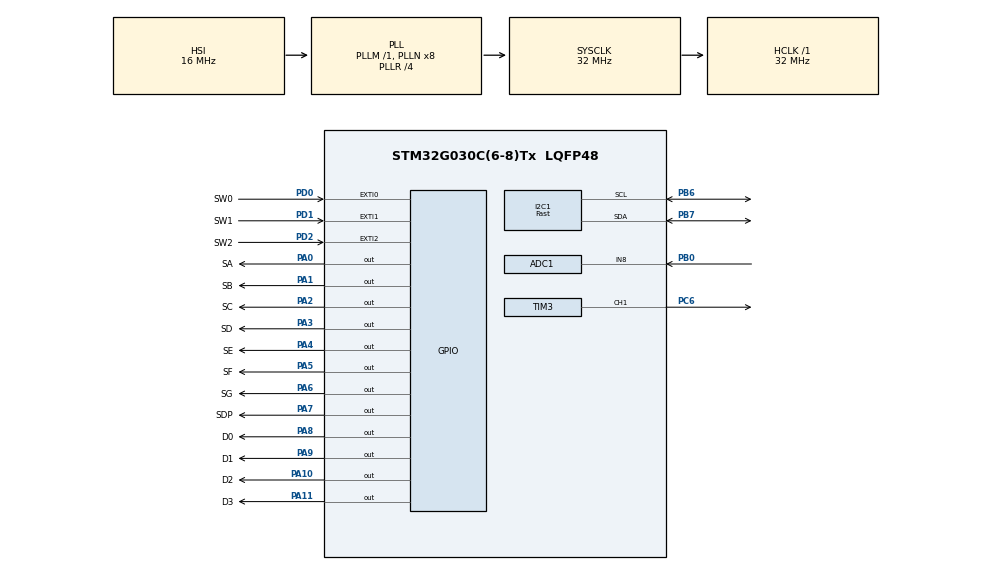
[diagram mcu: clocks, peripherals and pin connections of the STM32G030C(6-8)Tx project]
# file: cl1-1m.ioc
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ADC1.Channel-0\#ChannelRegularConversion=ADC_CHANNEL_8
ADC1.NbrOfConversionFlag=1
ADC1.Rank-0\#ChannelRegularConversion=1
ADC1.SamplingTime-0\#ChannelRegularConversion=ADC_SAMPLINGTIME_COMMON_1
ADC1.SelectedChannel=ADC_CHANNEL_8
ADC1.master=1
I2C1.I2C_Speed_Mode=I2C_Fast
I2C1.Timing=0x00300F38
Mcu.Family=STM32G0
Mcu.Name=STM32G030C(6-8)Tx
Mcu.Package=LQFP48
NVIC.EXTI0_1_IRQn=true\:3\:0\:true\:false\:true\:true\:true\:true
NVIC.EXTI2_3_IRQn=true\:3\:0\:true\:false\:true\:true\:true\:true
NVIC.TIM14_IRQn=true\:2\:0\:true\:false\:true\:true\:true\:true
PA0.GPIO_Label=SA
PA0.GPIO_PuPd=GPIO_PULLDOWN
PA0.GPIO_Speed=GPIO_SPEED_FREQ_VERY_HIGH
PA0.Signal=GPIO_Output
PA1.GPIO_Label=SB
PA1.GPIO_PuPd=GPIO_PULLDOWN
PA1.GPIO_Speed=GPIO_SPEED_FREQ_VERY_HIGH
PA1.Signal=GPIO_Output
PA10.GPIO_Label=D2
PA10.Signal=GPIO_Output
PA11\ [PA9].GPIO_Label=D3
PA11\ [PA9].Signal=GPIO_Output
PA2.GPIO_Label=SC
PA2.Signal=GPIO_Output
PA3.GPIO_Label=SD
PA3.Signal=GPIO_Output
PA4.GPIO_Label=SE
PA4.Signal=GPIO_Output
PA5.GPIO_Label=SF
PA5.Signal=GPIO_Output
PA6.GPIO_Label=SG
PA6.Signal=GPIO_Output
PA7.GPIO_Label=SDP
PA7.Signal=GPIO_Output
PA8.GPIO_Label=D0
PA8.GPIO_PuPd=GPIO_PULLDOWN
PA8.GPIO_Speed=GPIO_SPEED_FREQ_VERY_HIGH
PA8.Signal=GPIO_Output
PA9.GPIO_FMPA9=SYSCFG_FASTMODEPLUS_PA9
PA9.GPIO_Label=D1
PA9.GPIO_PuPd=GPIO_PULLDOWN
PA9.GPIO_Speed=GPIO_SPEED_FREQ_VERY_HIGH
PA9.Signal=GPIO_Output
PB0.Mode=IN8
PB0.Signal=ADC1_IN8
PB6.Mode=I2C
PB6.Signal=I2C1_SCL
PB7.Mode=I2C
PB7.Signal=I2C1_SDA
PC6.Signal=S_TIM3_CH1
PD0.GPIO_Label=SW0
PD0.GPIO_ModeDefaultEXTI=GPIO_MODE_IT_RISING_FALLING
PD0.Signal=GPXTI0
PD1.GPIO_Label=SW1
PD1.GPIO_ModeDefaultEXTI=GPIO_MODE_IT_RISING_FALLING
PD1.Signal=GPXTI1
PD2.GPIO_Label=SW2
PD2.GPIO_ModeDefaultEXTI=GPIO_MODE_IT_RISING_FALLING
PD2.Signal=GPXTI2
ProjectManager.HeapSize=0x200
ProjectManager.StackSize=0x400
ProjectManager.TargetToolchain=STM32CubeIDE
RCC.ADCFreq_Value=32000000
RCC.AHBFreq_Value=32000000
RCC.CortexFreq_Value=32000000
RCC.EXTERNAL_CLOCK_VALUE=12288000
RCC.HCLKFreq_Value=32000000
RCC.HSE_VALUE=8000000
RCC.HSI_VALUE=16000000
RCC.LSE_VALUE=32768
RCC.PLLR=RCC_PLLR_DIV4
RCC.SYSCLKFreq_VALUE=32000000
RCC.SYSCLKSource=RCC_SYSCLKSOURCE_PLLCLK
RCC.VCOOutputFreq_Value=128000000
SH.S_TIM3_CH1.0=TIM3_CH1,PWM Generation1 CH1
TIM14.AutoReloadPreload=TIM_AUTORELOAD_PRELOAD_DISABLE
TIM14.Period=9
TIM14.Prescaler=31
TIM3.Channel-PWM\ Generation1\ CH1=TIM_CHANNEL_1
TIM3.Period=427
TIM3.Prescaler=1
VP_RTC_VS_RTC_Activate.Mode=RTC_Enabled
VP_TIM14_VS_ClockSourceINT.Mode=Enable_Timer
board=custom

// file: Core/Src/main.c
/* USER CODE BEGIN Header */
/**
 ******************************************************************************
 * @file           : main.c
 * @brief          : Main program body
 ******************************************************************************
 * @attention
 *
 * Copyright (c) 2023 STMicroelectronics.
 * All rights reserved.
 *
 * This software is licensed under terms that can be found in the LICENSE file
 * in the root directory of this software component.
 * If no LICENSE file 		comes with this software, it is provided AS-IS.
 *
 *
 *
 ******************************************************************************
 */
/* USER CODE END Header */
#include "main.h"

/* USER CODE BEGIN Includes */
#include <string.h>
#include <math.h>
#include <stdio.h>
/* USER CODE END Includes */

/* USER CODE BEGIN PD */
#define RTC_ADDRESS 0xD0
/* USER CODE END PD */

ADC_HandleTypeDef hadc1;

I2C_HandleTypeDef hi2c1;

RTC_HandleTypeDef hrtc;

TIM_HandleTypeDef htim3;
TIM_HandleTypeDef htim14;

/* USER CODE BEGIN PV */

static GPIO_TypeDef *const DIG_Port[] = { D0_GPIO_Port, D1_GPIO_Port,
D2_GPIO_Port, D3_GPIO_Port };

static const uint16_t DIG_Pin[] = { D0_Pin, D1_Pin, D2_Pin, D3_Pin };

static const uint16_t gpio_pins[] = { 4, 0, 1, 4, 2 };

RTC_TimeTypeDef time;
RTC_DateTypeDef date;

volatile uint8_t isPressed = 3; // Zmienna do zapamiętania który przycisk zosta??��?��? wciśnięty, jeżeli jest równa 3 to nic nie było wciśnięte
volatile uint32_t actTick = 0; // Zmienna do zapamiętania czasu wciśnięcia przycisku
volatile int dispValue = 0; // Wyświetlana liczba
volatile int curDig = 0; // Wyświetlana Cyfra
volatile uint8_t selDig = 0; // Wybrana Cyfra
uint8_t clickType = 0; // od 1 do 3 to krótkie przyciśnięcia, od 4 do 6 długie przyciśnięcia
uint8_t setupMode = 0; // Jeżeli jest większe od zera to zegarek jest w trybie programowania
uint8_t setupDig = 0;
uint8_t newDig = 0;
uint16_t pwm = 50;
uint16_t brightness = 0;
uint16_t onBright = 50;
uint16_t offBright = 5;
uint16_t onTime = 0000;
uint16_t offTime = 0000;

// Ustawianie segmentów
const uint8_t digits[15] = { 0b00111111, // 0
		0b00000110, // 1
		0b01011011, // 2
		0b01001111, // 3
		0b01100110, // 4
		0b01101101, // 5
		0b01111101, // 6
		0b00000111, // 7
		0b01111111, // 8
		0b01101111, // 9
		0b00000000, // Blank
		0b01111001, 0b01010000, 0b01010000, 0b00000000 };
static GPIO_TypeDef *const SEG_Port[] = { SA_GPIO_Port, SB_GPIO_Port,
SC_GPIO_Port, SD_GPIO_Port, SE_GPIO_Port, SF_GPIO_Port, SG_GPIO_Port,
SDP_GPIO_Port };

static const uint16_t SEG_Pin[] = { SA_Pin, SB_Pin, SC_Pin, SD_Pin, SE_Pin,
SF_Pin, SG_Pin, SDP_Pin };
/* USER CODE END PV */

void SystemClock_Config(void);
static void MX_GPIO_Init(void);
static void MX_ADC1_Init(void);
static void MX_TIM3_Init(void);
static void MX_TIM14_Init(void);
static void MX_RTC_Init(void);
static void MX_I2C1_Init(void);

/* USER CODE BEGIN 0 */

uint8_t decToBcd(int val) {
	return (uint8_t) ((val / 10 * 16) + (val % 10));
}

int bcdToDec(uint8_t val) {
	return (int) ((val / 16 * 10) + (val % 16));
}

void Set_Time(uint8_t sec, uint8_t min, uint8_t hour) {
	uint8_t set_time[7];
	set_time[0] = decToBcd(sec);
	set_time[1] = decToBcd(min);
	set_time[2] = decToBcd(hour);

	HAL_I2C_Mem_Write(&hi2c1, RTC_ADDRESS, 0x00, 1, set_time, 7, 1000);
}

void Get_Time(void) {
	uint8_t get_time[7];
	HAL_I2C_Mem_Read(&hi2c1, RTC_ADDRESS, 0x00, 1, get_time, 7, 1000);
	time.Seconds = bcdToDec(get_time[0]);
	time.Minutes = bcdToDec(get_time[1]);
	time.Hours = bcdToDec(get_time[2]);
}

void setDigit(int digit) {
	for (int i = 0; i < 8; i++) {
		HAL_GPIO_WritePin(SEG_Port[i], SEG_Pin[i],
				((((digits[digit] >> i) & 1) == 1) ?
						GPIO_PIN_SET : GPIO_PIN_RESET));

	}
}

void customTick() {
	if (isPressed != 3)
		actTick++;
}

// Obsługa przerwa??��?��? wywoływanych przez przyciski
void swToggle(uint16_t GPIO_Pin) {
	if ((HAL_GPIO_ReadPin(GPIOD, GPIO_Pin) == GPIO_PIN_RESET)
			&& (isPressed == 3)) {
		actTick = 0;
		isPressed = GPIO_Pin;
	} else if ((HAL_GPIO_ReadPin(GPIOD, GPIO_Pin) == GPIO_PIN_SET)
			&& (isPressed == GPIO_Pin)) {
		if (actTick > 50 && actTick < 700) {
			clickType = gpio_pins[GPIO_Pin] + 1;
		} else if (actTick > 50) {
			clickType = gpio_pins[GPIO_Pin] + 4;
		}
		actTick = 0;
		isPressed = 3;
	} else {
		__NOP();
	}
}
void HAL_GPIO_EXTI_Falling_Callback(uint16_t GPIO_Pin) {
	swToggle(GPIO_Pin);
}
void HAL_GPIO_EXTI_Rising_Callback(uint16_t GPIO_Pin) {
	swToggle(GPIO_Pin);
}
volatile long delayForBlink = 0;
volatile long delay = 0;
// Przerwanie do odświeżania zegarka

void TIM14_Callback() {
	if (delay == 0) {
		HAL_GPIO_WritePin(DIG_Port[(curDig + 3) % 4], DIG_Pin[(curDig + 3) % 4],
				GPIO_PIN_RESET);
		setDigit(10);
	} else if (delay == 5) {
		HAL_GPIO_WritePin(DIG_Port[(curDig + 3) % 4], DIG_Pin[(curDig + 3) % 4],
				GPIO_PIN_RESET);
		if (HAL_I2C_IsDeviceReady(&hi2c1, RTC_ADDRESS, 3, 5) != HAL_OK) {
			setDigit(14 - curDig);
		} else if (setupDig == curDig
				&& (setupMode == 1 || setupMode == 3 || setupMode == 4)) {
			setDigit(
					(delayForBlink < 50000) ?
							((int) (dispValue / pow(10.0, curDig)) % 10) : 10);
		} else if (setupDig == 0 && (curDig == 0 || curDig == 1)
				&& setupMode == 2) {
			setDigit(
					(delayForBlink < 50000) ?
							((int) (dispValue / pow(10.0, curDig)) % 10) : 10);
		} else if (setupDig == 1 && (curDig == 2 || curDig == 3)
				&& setupMode == 2) {
			setDigit(
					(delayForBlink < 50000) ?
							((int) (dispValue / pow(10.0, curDig)) % 10) : 10);
		} else {
			setDigit((int) (dispValue / pow(10.0, curDig)) % 10);
		}
		HAL_GPIO_WritePin(SEG_Port[7], SEG_Pin[7],
				((setupMode - 1) == curDig) ? GPIO_PIN_SET : GPIO_PIN_RESET);
	} else if (setupMode == 2) {
		if (curDig == 0 || curDig == 1) {
			if (delay == 61 - (onBright)/2) {
				HAL_GPIO_WritePin(DIG_Port[curDig], DIG_Pin[curDig],
						GPIO_PIN_SET);
			}
		} else {
			if (delay == 61 - (offBright/2)) {
				HAL_GPIO_WritePin(DIG_Port[curDig], DIG_Pin[curDig],
						GPIO_PIN_SET);
			}

		}
	} else if (delay >= (61 - (brightness/2))) {
		HAL_GPIO_WritePin(DIG_Port[curDig], DIG_Pin[curDig], GPIO_PIN_SET);

	}

	if (delay == 60) {
		delay = 0;
		curDig = (curDig + 1) % 4;
	} else {
		delay++;
	}
	if (delayForBlink == 100000) {
		Get_Time();
		delayForBlink = 0;
	} else {
		delayForBlink++;
	}
}

/* USER CODE END 0 */

int main(void)
{

  /* MCU Configuration--------------------------------------------------------*/

  /* Reset of all peripherals, Initializes the Flash interface and the Systick. */
  HAL_Init();

  /* Configure the system clock */
  SystemClock_Config();

  /* Initialize all configured peripherals */
  MX_GPIO_Init();
  MX_ADC1_Init();
  MX_TIM3_Init();
  MX_TIM14_Init();
  MX_RTC_Init();
  MX_I2C1_Init();
  /* USER CODE BEGIN 2 */
	HAL_ADCEx_Calibration_Start(&hadc1);
	HAL_TIM_Base_Start_IT(&htim14);
	HAL_TIM_Base_Start_IT(&htim3);
	HAL_TIM_PWM_Start(&htim3, TIM_CHANNEL_1);

	onTime = HAL_RTCEx_BKUPRead(&hrtc, RTC_BKP_DR0);
	offTime = HAL_RTCEx_BKUPRead(&hrtc, RTC_BKP_DR1);
	onBright =
			(HAL_RTCEx_BKUPRead(&hrtc, RTC_BKP_DR2) != 0) ?
					HAL_RTCEx_BKUPRead(&hrtc, RTC_BKP_DR2) : 50;
	offBright = HAL_RTCEx_BKUPRead(&hrtc, RTC_BKP_DR3);

  /* USER CODE END 2 */

  /* Infinite loop */
	while (1) {

    /* USER CODE BEGIN 3 */

// Obsługa przetwornicy
		HAL_ADC_Start(&hadc1);
		HAL_ADC_PollForConversion(&hadc1, HAL_MAX_DELAY);
		uint32_t value = HAL_ADC_GetValue(&hadc1);
		float voltage = (((3.3 * value)) / 4096) * 33.6;
		if (35 < voltage) {
			if (pwm > 0)
				pwm--;
		} else {
			if (pwm < 198)
				pwm++;
		}
		__HAL_TIM_SET_COMPARE(&htim3, TIM_CHANNEL_1, pwm);
		if (setupMode == 0) { // Dla setupMode równego 0 zegarek pracuje normalnie
			if (dispValue % 100 != time.Minutes) {
				dispValue = (time.Hours * 100) + time.Minutes;
			}
			if (onTime < offTime) {
				if (dispValue >= onTime && dispValue < offTime) {
					brightness = onBright;
				} else {
					brightness = offBright;
				}

			} else if (onTime > offTime) {
				if (dispValue < onTime && dispValue >= offTime) {
					brightness = offBright;
				} else {
					brightness = onBright;
				}
			} else {
				brightness = onBright;
			}
			if (clickType == 5) {
				clickType = 0;
				setupDig = 0;
				setupMode++;
			}
		} else if (setupMode != 5) {
			brightness = 50;
			if (clickType == 5) {
				clickType = 0;
				setupMode = 0;
			} else if (clickType == 4) {
				clickType = 0;
				setupDig = 0;
				setupMode = (setupMode == 1) ? 4 : setupMode - 1;
			} else if (clickType == 6) {
				clickType = 0;
				setupDig = 0;
				setupMode = (setupMode >= 4) ? 1 : setupMode + 1;
			}
			switch (setupMode) {
			case 1:
				dispValue = (time.Hours * 100) + time.Minutes;
				newDig = ((int) (dispValue / pow(10.0, setupDig)) % 10);
				if (clickType == 2) {
					delayForBlink = 25000;
					clickType = 0;
					setupDig = (setupDig + 1) % 4;
					newDig = ((int) (dispValue / pow(10.0, setupDig)) % 10);
				} else if (clickType == 1) {
					clickType = 0;
					if (setupDig == 0) {
						newDig = (newDig + 1) % 10;
					} else if (setupDig == 1) {
						newDig = (newDig + 1) % 6;
					} else if (setupDig == 2) {
						if (((dispValue / 1000) % 10) == 2) {
							newDig = (newDig + 1) % 5;
						} else {
							newDig = (newDig + 1) % 10;
						}
					} else if (setupDig == 3) {
						if (((dispValue / 100) % 10) > 4) {
							newDig = (newDig + 1) % 2;
						} else {
							newDig = (newDig + 1) % 3;
						}
					}
				} else if (clickType == 3) {
					clickType = 0;
					if (setupDig == 0) {
						newDig = (newDig + 9) % 10;
					} else if (setupDig == 1) {
						newDig = (newDig + 5) % 6;
					} else if (setupDig == 2) {
						if (((dispValue / 1000) % 10) == 2) {
							newDig = (newDig + 4) % 5;
						} else {
							newDig = (newDig + 9) % 10;
						}
					} else if (setupDig == 3) {
						if (((dispValue / 100) % 10) > 4) {
							newDig = (newDig + 1) % 2;
						} else {
							newDig = (newDig + 2) % 3;
						}
					}
				}
				if (newDig != ((int) (dispValue / pow(10.0, setupDig)) % 10)) {
					delayForBlink = 0;
					dispValue = (dispValue
							- (((int) (dispValue / pow(10.0, setupDig)) % 10))
									* pow(10.0, setupDig))
							+ (newDig * pow(10.0, setupDig));
					time.Hours = dispValue / 100;
					time.Minutes = dispValue % 100;
					time.Seconds = 0;
				Set_Time(time.Seconds,time.Minutes,time.Hours);
				}

				break;
			case 2:
				dispValue = ((onBright == 100) ? 99 : onBright)
						+ (((offBright == 100) ? 99 : offBright) * 100);
				if (clickType == 2) {
					delayForBlink = 25000;
					clickType = 0;
					setupDig = (setupDig + 1) % 2;

				} else if (clickType == 1) {
					delayForBlink = 0;
					clickType = 0;
					if (setupDig == 0) {
						onBright = (((onBright / 5) + 1) % 21) * 5;
						HAL_RTCEx_BKUPWrite(&hrtc, RTC_BKP_DR2, onBright);
					} else {
						offBright = (((offBright / 5) + 1) % 21) * 5;
						HAL_RTCEx_BKUPWrite(&hrtc, RTC_BKP_DR3, offBright);
					}

				} else if (clickType == 3) {
					delayForBlink = 0;
					clickType = 0;
					if (setupDig == 0) {
						onBright = (((onBright / 5) + 20) % 21) * 5;
						HAL_RTCEx_BKUPWrite(&hrtc, RTC_BKP_DR2, onBright);
					} else {
						HAL_RTCEx_BKUPWrite(&hrtc, RTC_BKP_DR3, offBright);
						offBright = (((offBright / 5) + 20) % 21) * 5;
					}
				}
				break;
			case 3:
				dispValue = onTime;
				newDig = ((int) (onTime / pow(10.0, setupDig)) % 10);
				if (clickType == 2) {
					delayForBlink = 25000;
					clickType = 0;
					setupDig = (setupDig + 1) % 4;
					newDig = ((int) (onTime / pow(10.0, setupDig)) % 10);
				} else if (clickType == 1) {
					clickType = 0;
					if (setupDig == 0) {
						newDig = (newDig + 1) % 10;
					} else if (setupDig == 1) {
						newDig = (newDig + 1) % 6;
					} else if (setupDig == 2) {
						if (((onTime / 1000) % 10) == 2) {
							newDig = (newDig + 1) % 5;
						} else {
							newDig = (newDig + 1) % 10;
						}
					} else if (setupDig == 3) {
						if (((onTime / 100) % 10) > 4) {
							newDig = (newDig + 1) % 2;
						} else {
							newDig = (newDig + 1) % 3;
						}
					}
				} else if (clickType == 3) {
					clickType = 0;
					if (setupDig == 0) {
						newDig = (newDig + 9) % 10;
					} else if (setupDig == 1) {
						newDig = (newDig + 5) % 6;
					} else if (setupDig == 2) {
						if (((onTime / 1000) % 10) == 2) {
							newDig = (newDig + 4) % 5;
						} else {
							newDig = (newDig + 9) % 10;
						}
					} else if (setupDig == 3) {
						if (((onTime / 100) % 10) > 4) {
							newDig = (newDig + 1) % 2;
						} else {
							newDig = (newDig + 2) % 3;
						}
					}
				}
				if (newDig != ((int) (onTime / pow(10.0, setupDig)) % 10)) {
					delayForBlink = 0;
					onTime = (onTime
							- (((int) (onTime / pow(10.0, setupDig)) % 10))
									* pow(10.0, setupDig))
							+ (newDig * pow(10.0, setupDig));
					HAL_RTCEx_BKUPWrite(&hrtc, RTC_BKP_DR0, onTime);
				}

				break;
			case 4:
				dispValue = offTime;
				newDig = ((int) (offTime / pow(10.0, setupDig)) % 10);
				if (clickType == 2) {
					delayForBlink = 25000;
					clickType = 0;
					setupDig = (setupDig + 1) % 4;
					newDig = ((int) (offTime / pow(10.0, setupDig)) % 10);
				} else if (clickType == 1) {
					clickType = 0;
					if (setupDig == 0) {
						newDig = (newDig + 1) % 10;
					} else if (setupDig == 1) {
						newDig = (newDig + 1) % 6;
					} else if (setupDig == 2) {
						if (((offTime / 1000) % 10) == 2) {
							newDig = (newDig + 1) % 5;
						} else {
							newDig = (newDig + 1) % 10;
						}
					} else if (setupDig == 3) {
						if (((offTime / 100) % 10) > 4) {
							newDig = (newDig + 1) % 2;
						} else {
							newDig = (newDig + 1) % 3;
						}
					}
				} else if (clickType == 3) {
					clickType = 0;
					if (setupDig == 0) {
						newDig = (newDig + 9) % 10;
					} else if (setupDig == 1) {
						newDig = (newDig + 5) % 6;
					} else if (setupDig == 2) {
						if (((offTime / 1000) % 10) == 2) {
							newDig = (newDig + 4) % 5;
						} else {
							newDig = (newDig + 9) % 10;
						}
					} else if (setupDig == 3) {
						if (((offTime / 100) % 10) > 4) {
							newDig = (newDig + 1) % 2;
						} else {
							newDig = (newDig + 2) % 3;
						}
					}
				}
				if (newDig != ((int) (offTime / pow(10.0, setupDig)) % 10)) {
					delayForBlink = 0;
					offTime = (offTime
							- (((int) (offTime / pow(10.0, setupDig)) % 10))
									* pow(10.0, setupDig))
							+ (newDig * pow(10.0, setupDig));
					HAL_RTCEx_BKUPWrite(&hrtc, RTC_BKP_DR1, offTime);
				}

				break;

			}
		}
	}
  /* USER CODE END 3 */
}

void SystemClock_Config(void)
{
  RCC_OscInitTypeDef RCC_OscInitStruct = {0};
  RCC_ClkInitTypeDef RCC_ClkInitStruct = {0};

  /** Configure the main internal regulator output voltage
  */
  HAL_PWREx_ControlVoltageScaling(PWR_REGULATOR_VOLTAGE_SCALE1);

  /** Initializes the RCC Oscillators according to the specified parameters
  * in the RCC_OscInitTypeDef structure.
  */
  RCC_OscInitStruct.OscillatorType = RCC_OSCILLATORTYPE_HSI|RCC_OSCILLATORTYPE_LSI;
  RCC_OscInitStruct.HSIState = RCC_HSI_ON;
  RCC_OscInitStruct.HSIDiv = RCC_HSI_DIV1;
  RCC_OscInitStruct.HSICalibrationValue = RCC_HSICALIBRATION_DEFAULT;
  RCC_OscInitStruct.LSIState = RCC_LSI_ON;
  RCC_OscInitStruct.PLL.PLLState = RCC_PLL_ON;
  RCC_OscInitStruct.PLL.PLLSource = RCC_PLLSOURCE_HSI;
  RCC_OscInitStruct.PLL.PLLM = RCC_PLLM_DIV1;
  RCC_OscInitStruct.PLL.PLLN = 8;
  RCC_OscInitStruct.PLL.PLLP = RCC_PLLP_DIV2;
  RCC_OscInitStruct.PLL.PLLR = RCC_PLLR_DIV4;
  if (HAL_RCC_OscConfig(&RCC_OscInitStruct) != HAL_OK)
  {
    Error_Handler();
  }

  /** Initializes the CPU, AHB and APB buses clocks
  */
  RCC_ClkInitStruct.ClockType = RCC_CLOCKTYPE_HCLK|RCC_CLOCKTYPE_SYSCLK
                              |RCC_CLOCKTYPE_PCLK1;
  RCC_ClkInitStruct.SYSCLKSource = RCC_SYSCLKSOURCE_PLLCLK;
  RCC_ClkInitStruct.AHBCLKDivider = RCC_SYSCLK_DIV1;
  RCC_ClkInitStruct.APB1CLKDivider = RCC_HCLK_DIV1;

  if (HAL_RCC_ClockConfig(&RCC_ClkInitStruct, FLASH_LATENCY_1) != HAL_OK)
  {
    Error_Handler();
  }
}

static void MX_ADC1_Init(void)
{

  ADC_ChannelConfTypeDef sConfig = {0};

  /** Configure the global features of the ADC (Clock, Resolution, Data Alignment and number of conversion)
  */
  hadc1.Instance = ADC1;
  hadc1.Init.ClockPrescaler = ADC_CLOCK_SYNC_PCLK_DIV2;
  hadc1.Init.Resolution = ADC_RESOLUTION_12B;
  hadc1.Init.DataAlign = ADC_DATAALIGN_RIGHT;
  hadc1.Init.ScanConvMode = ADC_SCAN_DISABLE;
  hadc1.Init.EOCSelection = ADC_EOC_SINGLE_CONV;
  hadc1.Init.LowPowerAutoWait = DISABLE;
  hadc1.Init.LowPowerAutoPowerOff = DISABLE;
  hadc1.Init.ContinuousConvMode = DISABLE;
  hadc1.Init.NbrOfConversion = 1;
  hadc1.Init.DiscontinuousConvMode = DISABLE;
  hadc1.Init.ExternalTrigConv = ADC_SOFTWARE_START;
  hadc1.Init.ExternalTrigConvEdge = ADC_EXTERNALTRIGCONVEDGE_NONE;
  hadc1.Init.DMAContinuousRequests = DISABLE;
  hadc1.Init.Overrun = ADC_OVR_DATA_PRESERVED;
  hadc1.Init.SamplingTimeCommon1 = ADC_SAMPLETIME_1CYCLE_5;
  hadc1.Init.SamplingTimeCommon2 = ADC_SAMPLETIME_1CYCLE_5;
  hadc1.Init.OversamplingMode = DISABLE;
  hadc1.Init.TriggerFrequencyMode = ADC_TRIGGER_FREQ_HIGH;
  if (HAL_ADC_Init(&hadc1) != HAL_OK)
  {
    Error_Handler();
  }

  /** Configure Regular Channel
  */
  sConfig.Channel = ADC_CHANNEL_8;
  sConfig.Rank = ADC_REGULAR_RANK_1;
  sConfig.SamplingTime = ADC_SAMPLINGTIME_COMMON_1;
  if (HAL_ADC_ConfigChannel(&hadc1, &sConfig) != HAL_OK)
  {
    Error_Handler();
  }

}

static void MX_I2C1_Init(void)
{

  hi2c1.Instance = I2C1;
  hi2c1.Init.Timing = 0x00300F38;
  hi2c1.Init.OwnAddress1 = 0;
  hi2c1.Init.AddressingMode = I2C_ADDRESSINGMODE_7BIT;
  hi2c1.Init.DualAddressMode = I2C_DUALADDRESS_DISABLE;
  hi2c1.Init.OwnAddress2 = 0;
  hi2c1.Init.OwnAddress2Masks = I2C_OA2_NOMASK;
  hi2c1.Init.GeneralCallMode = I2C_GENERALCALL_DISABLE;
  hi2c1.Init.NoStretchMode = I2C_NOSTRETCH_DISABLE;
  if (HAL_I2C_Init(&hi2c1) != HAL_OK)
  {
    Error_Handler();
  }

  /** Configure Analogue filter
  */
  if (HAL_I2CEx_ConfigAnalogFilter(&hi2c1, I2C_ANALOGFILTER_ENABLE) != HAL_OK)
  {
    Error_Handler();
  }

  /** Configure Digital filter
  */
  if (HAL_I2CEx_ConfigDigitalFilter(&hi2c1, 0) != HAL_OK)
  {
    Error_Handler();
  }

}

static void MX_RTC_Init(void)
{

  /** Initialize RTC Only
  */
  hrtc.Instance = RTC;
  hrtc.Init.HourFormat = RTC_HOURFORMAT_24;
  hrtc.Init.AsynchPrediv = 127;
  hrtc.Init.SynchPrediv = 255;
  hrtc.Init.OutPut = RTC_OUTPUT_DISABLE;
  hrtc.Init.OutPutRemap = RTC_OUTPUT_REMAP_NONE;
  hrtc.Init.OutPutPolarity = RTC_OUTPUT_POLARITY_HIGH;
  hrtc.Init.OutPutType = RTC_OUTPUT_TYPE_OPENDRAIN;
  hrtc.Init.OutPutPullUp = RTC_OUTPUT_PULLUP_NONE;
  if (HAL_RTC_Init(&hrtc) != HAL_OK)
  {
    Error_Handler();
  }

}

static void MX_TIM3_Init(void)
{

  TIM_MasterConfigTypeDef sMasterConfig = {0};
  TIM_OC_InitTypeDef sConfigOC = {0};

  htim3.Instance = TIM3;
  htim3.Init.Prescaler = 1;
  htim3.Init.CounterMode = TIM_COUNTERMODE_UP;
  htim3.Init.Period = 427;
  htim3.Init.ClockDivision = TIM_CLOCKDIVISION_DIV1;
  htim3.Init.AutoReloadPreload = TIM_AUTORELOAD_PRELOAD_DISABLE;
  if (HAL_TIM_PWM_Init(&htim3) != HAL_OK)
  {
    Error_Handler();
  }
  sMasterConfig.MasterOutputTrigger = TIM_TRGO_RESET;
  sMasterConfig.MasterSlaveMode = TIM_MASTERSLAVEMODE_DISABLE;
  if (HAL_TIMEx_MasterConfigSynchronization(&htim3, &sMasterConfig) != HAL_OK)
  {
    Error_Handler();
  }
  sConfigOC.OCMode = TIM_OCMODE_PWM1;
  sConfigOC.Pulse = 0;
  sConfigOC.OCPolarity = TIM_OCPOLARITY_HIGH;
  sConfigOC.OCFastMode = TIM_OCFAST_DISABLE;
  if (HAL_TIM_PWM_ConfigChannel(&htim3, &sConfigOC, TIM_CHANNEL_1) != HAL_OK)
  {
    Error_Handler();
  }
  HAL_TIM_MspPostInit(&htim3);

}

static void MX_TIM14_Init(void)
{

  htim14.Instance = TIM14;
  htim14.Init.Prescaler = 31;
  htim14.Init.CounterMode = TIM_COUNTERMODE_UP;
  htim14.Init.Period = 9;
  htim14.Init.ClockDivision = TIM_CLOCKDIVISION_DIV1;
  htim14.Init.AutoReloadPreload = TIM_AUTORELOAD_PRELOAD_DISABLE;
  if (HAL_TIM_Base_Init(&htim14) != HAL_OK)
  {
    Error_Handler();
  }

}

static void MX_GPIO_Init(void)
{
  GPIO_InitTypeDef GPIO_InitStruct = {0};

  /* GPIO Ports Clock Enable */
  __HAL_RCC_GPIOA_CLK_ENABLE();
  __HAL_RCC_GPIOB_CLK_ENABLE();
  __HAL_RCC_GPIOC_CLK_ENABLE();
  __HAL_RCC_GPIOD_CLK_ENABLE();

  /*Configure GPIO pin Output Level */
  HAL_GPIO_WritePin(GPIOA, SA_Pin|SB_Pin|SC_Pin|SD_Pin
                          |SE_Pin|SF_Pin|SG_Pin|SDP_Pin
                          |D0_Pin|D1_Pin|D2_Pin|D3_Pin, GPIO_PIN_RESET);

  /*Configure GPIO pins : SA_Pin SB_Pin D0_Pin D1_Pin */
  GPIO_InitStruct.Pin = SA_Pin|SB_Pin|D0_Pin|D1_Pin;
  GPIO_InitStruct.Mode = GPIO_MODE_OUTPUT_PP;
  GPIO_InitStruct.Pull = GPIO_PULLDOWN;
  GPIO_InitStruct.Speed = GPIO_SPEED_FREQ_VERY_HIGH;
  HAL_GPIO_Init(GPIOA, &GPIO_InitStruct);

  /*Configure GPIO pins : SC_Pin SD_Pin SE_Pin SF_Pin
                           SG_Pin SDP_Pin D2_Pin D3_Pin */
  GPIO_InitStruct.Pin = SC_Pin|SD_Pin|SE_Pin|SF_Pin
                          |SG_Pin|SDP_Pin|D2_Pin|D3_Pin;
  GPIO_InitStruct.Mode = GPIO_MODE_OUTPUT_PP;
  GPIO_InitStruct.Pull = GPIO_NOPULL;
  GPIO_InitStruct.Speed = GPIO_SPEED_FREQ_LOW;
  HAL_GPIO_Init(GPIOA, &GPIO_InitStruct);

  /*Configure GPIO pins : SW0_Pin SW1_Pin SW2_Pin */
  GPIO_InitStruct.Pin = SW0_Pin|SW1_Pin|SW2_Pin;
  GPIO_InitStruct.Mode = GPIO_MODE_IT_RISING_FALLING;
  GPIO_InitStruct.Pull = GPIO_NOPULL;
  HAL_GPIO_Init(GPIOD, &GPIO_InitStruct);

  /**/
  __HAL_SYSCFG_FASTMODEPLUS_ENABLE(SYSCFG_FASTMODEPLUS_PA9);

  /* EXTI interrupt init*/
  HAL_NVIC_SetPriority(EXTI0_1_IRQn, 3, 0);
  HAL_NVIC_EnableIRQ(EXTI0_1_IRQn);

  HAL_NVIC_SetPriority(EXTI2_3_IRQn, 3, 0);
  HAL_NVIC_EnableIRQ(EXTI2_3_IRQn);

}

void Error_Handler(void)
{
	__disable_irq();
	while (1) {
	}
}
